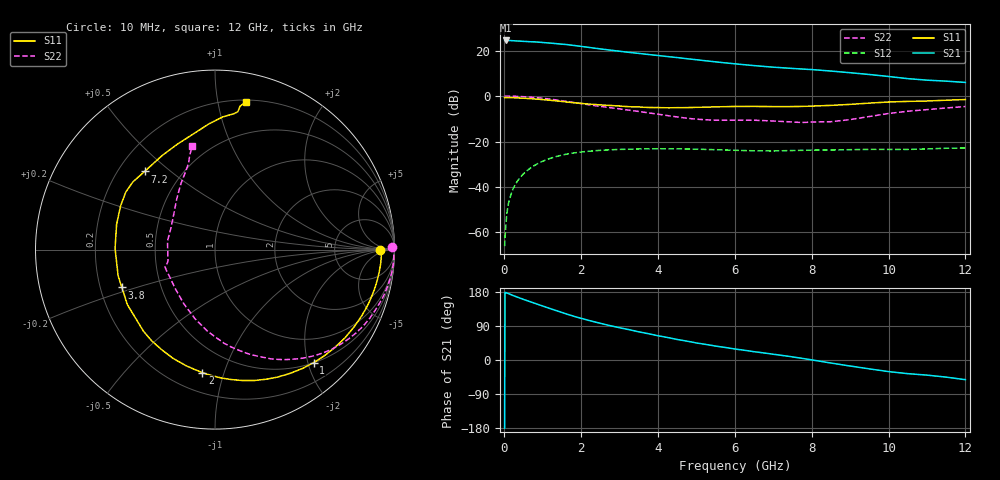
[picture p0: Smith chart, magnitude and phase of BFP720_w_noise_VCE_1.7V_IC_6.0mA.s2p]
! Infineon Technologies  Discrete & RF Semiconductors
! BFP720
! VCE =  1.7 V,  IC =  6.0 mA
! Common Emitter S-Parameters:  Aug 2012
# GHz  S  MA  R  50
!  f  S11  S21  S12  S22
! GHz  MAG  ANG  MAG  ANG  MAG  ANG  MAG  ANG
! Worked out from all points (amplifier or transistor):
!   105 points, 10 MHz to 12 GHz, reference 50 ohm
!   highest |S21| = 24.5 dB at 50 MHz (marker M1)
!   |S21| within 3 dB of that: start of sweep to 2.18 GHz
!   unconditionally stable (mu >= 1): 6.429 GHz to 11.58 GHz
!   at 300 MHz: K = 0.05, MSG = 31.4 dB, |S12| = -38.6 dB
!   at 3.6 GHz: K = 0.53, MSG = 20.9 dB, |S12| = -23.2 dB
!   at 12 GHz: K = 0.87, MSG = 14.4 dB, |S12| = -22.8 dB
!   lowest NFmin = 0.43 dB at 450 MHz
!   S11 on the Smith chart (normalised r, x): 10 MHz: 25, +0; 1 GHz: 0.50, -2.10; 2 GHz: 0.32, -0.85; 3.8 GHz: 0.29, -0.18; 7.2 GHz: 0.31, +0.41; 12 GHz: 0.22, +1.20
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0.01  0.922 -0.0  16.53 -179.8  0.0005 -71.2  0.9835 0.8
0.02  0.9273 -1.0  16.5 178.7  0.0007 76.5  0.9977 -0.6
0.05  0.9272 -2.4  16.71 177.5  0.0017 94.9  0.9968 -1.7
0.2  0.9212 -9.7  16.5 171.5  0.0079 83.7  0.9936 -6.9
0.5  0.8968 -24.3  15.97 160.0  0.0195 75.4  0.9684 -17.1
0.8  0.8624 -39.1  15.55 149.4  0.0302 66.5  0.9295 -27.2
1  0.8359 -48.9  15.09 142.5  0.0369 60.8  0.8947 -33.9
1.3  0.7918 -63.7  14.37 132.1  0.0454 52.4  0.8345 -43.5
1.6  0.744 -78.5  13.65 122.0  0.0523 44.7  0.7679 -52.3
2  0.6897 -95.8  12.38 110.0  0.0588 35.6  0.683 -63.0
2.1  0.677 -99.7  12.06 107.3  0.06 33.6  0.663 -65.2
2.8  0.6188 -124.7  10.15 89.6  0.0661 21.7  0.5497 -80.6
3.5  0.5766 -147.9  8.684 74.3  0.0688 12.6  0.459 -94.8
3.8  0.5601 -157.9  8.126 68.4  0.0691 9.2  0.4218 -101.3
4.1  0.5552 -168.0  7.635 62.2  0.0694 6.1  0.3883 -108.7
5  0.5661 165.6  6.295 44.9  0.068 -2.0  0.3107 -135.2
6.1  0.5912 145.8  5.026 27.7  0.0639 -7.5  0.2946 -157.6
7.2  0.5861 132.0  4.207 12.5  0.0626 -8.2  0.2773 -164.1
8.5  0.6241 109.5  3.55 -8.0  0.0652 -11.6  0.273 154.1
9.5  0.6997 93.0  2.981 -23.4  0.0672 -14.6  0.3551 126.8
10.5  0.7636 82.2  2.417 -36.0  0.0671 -17.3  0.4638 110.7
12  0.839 78.3  1.995 -51.9  0.0722 -22.2  0.5883 102.4
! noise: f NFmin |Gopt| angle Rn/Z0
0.45  0.43  0.44  3  0.13
1.8  0.51  0.42  24  0.13
2.4  0.55  0.3  55  0.23
5.5  0.69  0.2  58  0.14
10  0.95  0.39  -89  0.21
